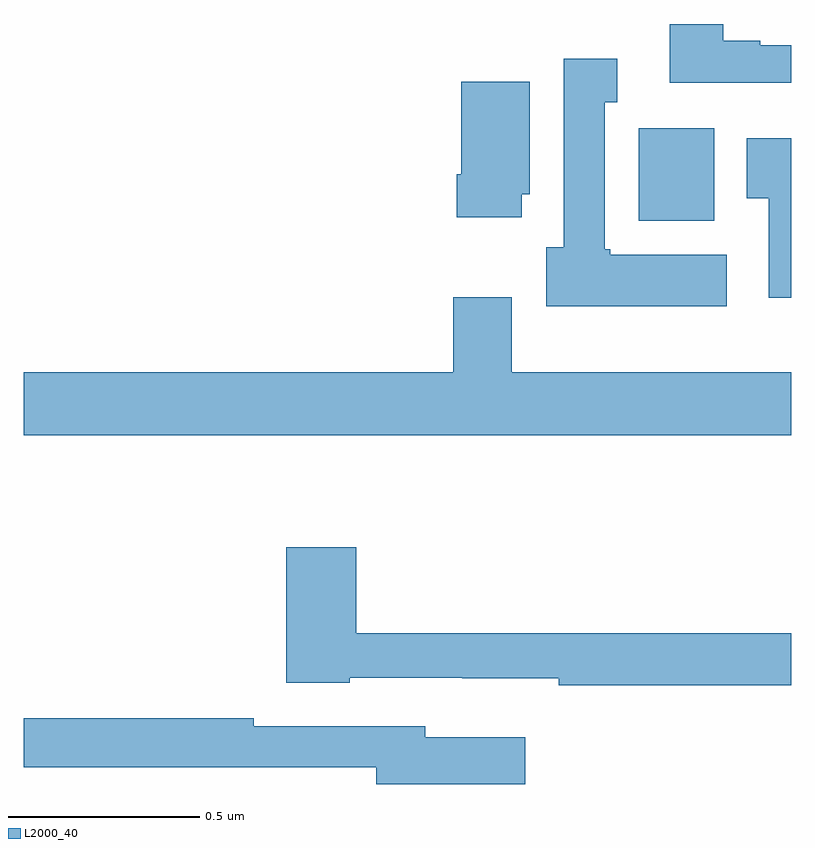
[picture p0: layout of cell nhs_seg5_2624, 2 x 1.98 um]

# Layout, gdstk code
import gdstk
lib = gdstk.Library(unit=1e-6, precision=1e-09)
def R(c, l, rs):  # rectangles x0, y0, x1, y1
    for r in rs: c.add(gdstk.rectangle(r[:2], r[2:], *l))
def P(c, l, *ps):  # polygons
    for p in ps: c.add(gdstk.Polygon(p, *l))
L2000_40 = (2000, 40)

nhs_seg5_2624 = lib.new_cell('nhs_seg5_2624')
R(nhs_seg5_2624, L2000_40, [(147.602,889.286,147.799,889.528)])
P(nhs_seg5_2624, L2000_40, [(148,889.743),(147.919,889.743),(147.919,889.756),(147.823,889.756),(147.823,889.799),(147.683,889.799),(147.683,889.646),(148,889.646)],
  [(147.832,889.198),(147.528,889.198),(147.528,889.212),(147.514,889.212),(147.514,889.595),(147.547,889.595),(147.547,889.708),(147.407,889.708),(147.407,889.218),(147.362,889.218),(147.362,889.064),(147.832,889.064)],
  [(147.298,889.356),(147.319,889.356),(147.319,889.648),(147.14,889.648),(147.14,889.408),(147.128,889.408),(147.128,889.296),(147.298,889.296)],
  [(148,889.501),(147.884,889.501),(147.884,889.345),(147.941,889.345),(147.941,889.086),(148,889.086)],
  [(148,888.892),(147.271,888.892),(147.271,889.087),(147.119,889.087),(147.119,888.892),(146,888.892),(146,888.728),(148,888.728)],
  [(148,888.212),(146.867,888.212),(146.867,888.436),(146.684,888.436),(146.684,888.083),(146.85,888.083),(146.85,888.096),(147.142,888.096),(147.142,888.095),(147.394,888.095),(147.394,888.076),(148,888.076)],
  [(147.307,887.941),(147.046,887.941),(147.046,887.97),(146.6,887.97),(146.6,887.99),(146,887.99),(146,887.862),(146.918,887.862),(146.918,887.819),(147.307,887.819)])

lib.write_gds('nhs_seg5_2624.gds')
